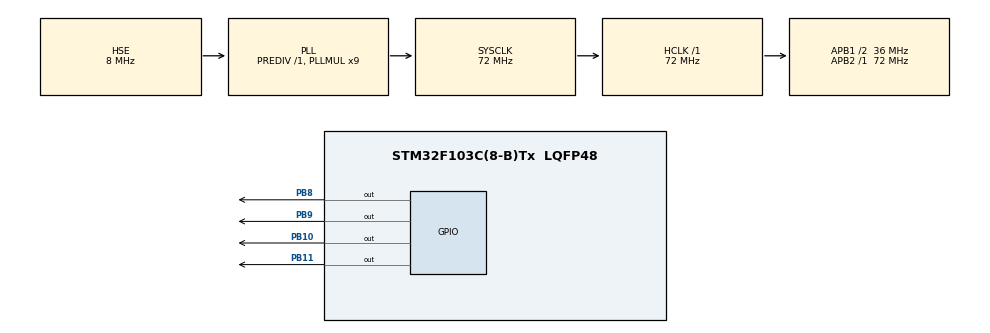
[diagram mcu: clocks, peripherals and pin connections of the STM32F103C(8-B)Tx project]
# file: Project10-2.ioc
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Mcu.Family=STM32F1
Mcu.Name=STM32F103C(8-B)Tx
Mcu.Package=LQFP48
NVIC.PriorityGroup=NVIC_PRIORITYGROUP_4
PA13.Mode=Serial_Wire
PA13.Signal=SYS_JTMS-SWDIO
PA14.Mode=Serial_Wire
PA14.Signal=SYS_JTCK-SWCLK
PB10.GPIO_ModeDefaultOutputPP=GPIO_MODE_OUTPUT_OD
PB10.GPIO_PuPd=GPIO_PULLUP
PB10.GPIO_Speed=GPIO_SPEED_FREQ_HIGH
PB10.PinState=GPIO_PIN_SET
PB10.Signal=GPIO_Output
PB11.GPIO_ModeDefaultOutputPP=GPIO_MODE_OUTPUT_OD
PB11.GPIO_PuPd=GPIO_PULLUP
PB11.GPIO_Speed=GPIO_SPEED_FREQ_HIGH
PB11.PinState=GPIO_PIN_SET
PB11.Signal=GPIO_Output
PB8.GPIO_ModeDefaultOutputPP=GPIO_MODE_OUTPUT_OD
PB8.GPIO_PuPd=GPIO_NOPULL
PB8.Signal=GPIO_Output
PB9.GPIO_ModeDefaultOutputPP=GPIO_MODE_OUTPUT_OD
PB9.GPIO_PuPd=GPIO_NOPULL
PB9.Signal=GPIO_Output
PC14-OSC32_IN.Mode=LSE-External-Oscillator
PC14-OSC32_IN.Signal=RCC_OSC32_IN
PC15-OSC32_OUT.Mode=LSE-External-Oscillator
PC15-OSC32_OUT.Signal=RCC_OSC32_OUT
PD0-OSC_IN.Mode=HSE-External-Oscillator
PD0-OSC_IN.Signal=RCC_OSC_IN
PD1-OSC_OUT.Mode=HSE-External-Oscillator
PD1-OSC_OUT.Signal=RCC_OSC_OUT
ProjectManager.HeapSize=0x200
ProjectManager.StackSize=0x400
ProjectManager.TargetToolchain=MDK-ARM V5.32
RCC.AHBFreq_Value=72000000
RCC.APB1CLKDivider=RCC_HCLK_DIV2
RCC.APB1Freq_Value=36000000
RCC.APB1TimFreq_Value=72000000
RCC.APB2Freq_Value=72000000
RCC.APB2TimFreq_Value=72000000
RCC.HCLKFreq_Value=72000000
RCC.PLLMUL=RCC_PLL_MUL9
RCC.PLLSourceVirtual=RCC_PLLSOURCE_HSE
RCC.SYSCLKFreq_VALUE=72000000
RCC.SYSCLKSource=RCC_SYSCLKSOURCE_PLLCLK
RCC.USBFreq_Value=72000000
board=custom

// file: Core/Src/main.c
/* USER CODE BEGIN Header */
/**
  ******************************************************************************
  * @file           : main.c
  * @brief          : Main program body
  ******************************************************************************
  * @attention
  *
  * Copyright (c) 2025 STMicroelectronics.
  * All rights reserved.
  *
  * This software is licensed under terms that can be found in the LICENSE file
  * in the root directory of this software component.
  * If no LICENSE file comes with this software, it is provided AS-IS.
  *
  ******************************************************************************
  */
/* USER CODE END Header */
#include "main.h"
#include "gpio.h"

/* USER CODE BEGIN Includes */
#include "OLED.h"
#include "QMI8658C.h"
#include "I2C.h"                  // Device header
/* USER CODE END Includes */

/* USER CODE BEGIN PV */
uint8_t ID;								//定义用于存放ID号的变量
int16_t AX=0,AY=0,AZ=0,GX=0,GY=0,GZ=0;
/* USER CODE END PV */

void SystemClock_Config(void);

int main(void)
{

  /* MCU Configuration--------------------------------------------------------*/

  /* Reset of all peripherals, Initializes the Flash interface and the Systick. */
  HAL_Init();

  /* Configure the system clock */
  SystemClock_Config();

  /* Initialize all configured peripherals */
  MX_GPIO_Init();
  /* USER CODE BEGIN 2 */
  // 先在cubemx中配置OLED和软件IIC相关引脚和相关设置
  // 按照例程添加OLED和相关模块的各种.c.h文件
  // 模块初始化
  OLED_Init();
  I2C_Init();
  QMI8658_Init();
  OLED_Clear(); // OLED清屏
  OLED_ShowString(1,1,"GZ:");
  OLED_ShowString(1,9,"AZ:");
  OLED_ShowString(2,1,"GX:");
  OLED_ShowString(2,9,"AX:");
  OLED_ShowString(3,1,"GY:");
  OLED_ShowString(3,9,"AY:");
  /* USER CODE END 2 */

  /* Infinite loop */
  /* USER CODE BEGIN WHILE */
  while (1)
  {
	  AX = (uint16_t)QMI8658_ReadReg(AMI8658C_I2C_Add,QMI8658C_RegAdd_AX_H);
      AX = AX<<8;
      AX = AX | (uint16_t)QMI8658_ReadReg(AMI8658C_I2C_Add,QMI8658C_RegAdd_AX_L);

      AY = (uint16_t)QMI8658_ReadReg(AMI8658C_I2C_Add,QMI8658C_RegAdd_AY_H);
      AY = AY<<8;
      AY = AY | (uint16_t)QMI8658_ReadReg(AMI8658C_I2C_Add,QMI8658C_RegAdd_AY_L);

      AZ = (uint16_t)QMI8658_ReadReg(AMI8658C_I2C_Add,QMI8658C_RegAdd_AZ_H);
      AZ = AZ<<8;
      AZ = AZ | (uint16_t)QMI8658_ReadReg(AMI8658C_I2C_Add,QMI8658C_RegAdd_AZ_L);

      GX = (uint16_t)QMI8658_ReadReg(AMI8658C_I2C_Add,QMI8658C_RegAdd_AX_H);
      GX = GX<<8;
      GX = GX | (uint16_t)QMI8658_ReadReg(AMI8658C_I2C_Add,QMI8658C_RegAdd_AX_L);

      GY = (uint16_t)QMI8658_ReadReg(AMI8658C_I2C_Add,QMI8658C_RegAdd_AY_H);
      GY = GY<<8;
      GY = GY | (uint16_t)QMI8658_ReadReg(AMI8658C_I2C_Add,QMI8658C_RegAdd_AY_L);

      GZ = (uint16_t)QMI8658_ReadReg(AMI8658C_I2C_Add,QMI8658C_RegAdd_AZ_H);
      GZ = GZ<<8;
      GZ = GZ | (uint16_t)QMI8658_ReadReg(AMI8658C_I2C_Add,QMI8658C_RegAdd_AZ_L);

      OLED_ShowSignedNum(1,4, GZ,4);
	  OLED_ShowSignedNum(2,4, GX,4);
	  OLED_ShowSignedNum(3,4, GY,4);
	  OLED_ShowSignedNum(1,12, AZ,4);
	  OLED_ShowSignedNum(2,12, AX,4);
      OLED_ShowSignedNum(3,12, AY,4);
    /* USER CODE END WHILE */

  }
}

void SystemClock_Config(void)
{
  RCC_OscInitTypeDef RCC_OscInitStruct = {0};
  RCC_ClkInitTypeDef RCC_ClkInitStruct = {0};

  /** Initializes the RCC Oscillators according to the specified parameters
  * in the RCC_OscInitTypeDef structure.
  */
  RCC_OscInitStruct.OscillatorType = RCC_OSCILLATORTYPE_HSE;
  RCC_OscInitStruct.HSEState = RCC_HSE_ON;
  RCC_OscInitStruct.HSEPredivValue = RCC_HSE_PREDIV_DIV1;
  RCC_OscInitStruct.HSIState = RCC_HSI_ON;
  RCC_OscInitStruct.PLL.PLLState = RCC_PLL_ON;
  RCC_OscInitStruct.PLL.PLLSource = RCC_PLLSOURCE_HSE;
  RCC_OscInitStruct.PLL.PLLMUL = RCC_PLL_MUL9;
  if (HAL_RCC_OscConfig(&RCC_OscInitStruct) != HAL_OK)
  {
    Error_Handler();
  }

  /** Initializes the CPU, AHB and APB buses clocks
  */
  RCC_ClkInitStruct.ClockType = RCC_CLOCKTYPE_HCLK|RCC_CLOCKTYPE_SYSCLK
                              |RCC_CLOCKTYPE_PCLK1|RCC_CLOCKTYPE_PCLK2;
  RCC_ClkInitStruct.SYSCLKSource = RCC_SYSCLKSOURCE_PLLCLK;
  RCC_ClkInitStruct.AHBCLKDivider = RCC_SYSCLK_DIV1;
  RCC_ClkInitStruct.APB1CLKDivider = RCC_HCLK_DIV2;
  RCC_ClkInitStruct.APB2CLKDivider = RCC_HCLK_DIV1;

  if (HAL_RCC_ClockConfig(&RCC_ClkInitStruct, FLASH_LATENCY_2) != HAL_OK)
  {
    Error_Handler();
  }
}

void Error_Handler(void)
{
  __disable_irq();
  while (1)
  {
  }
}
